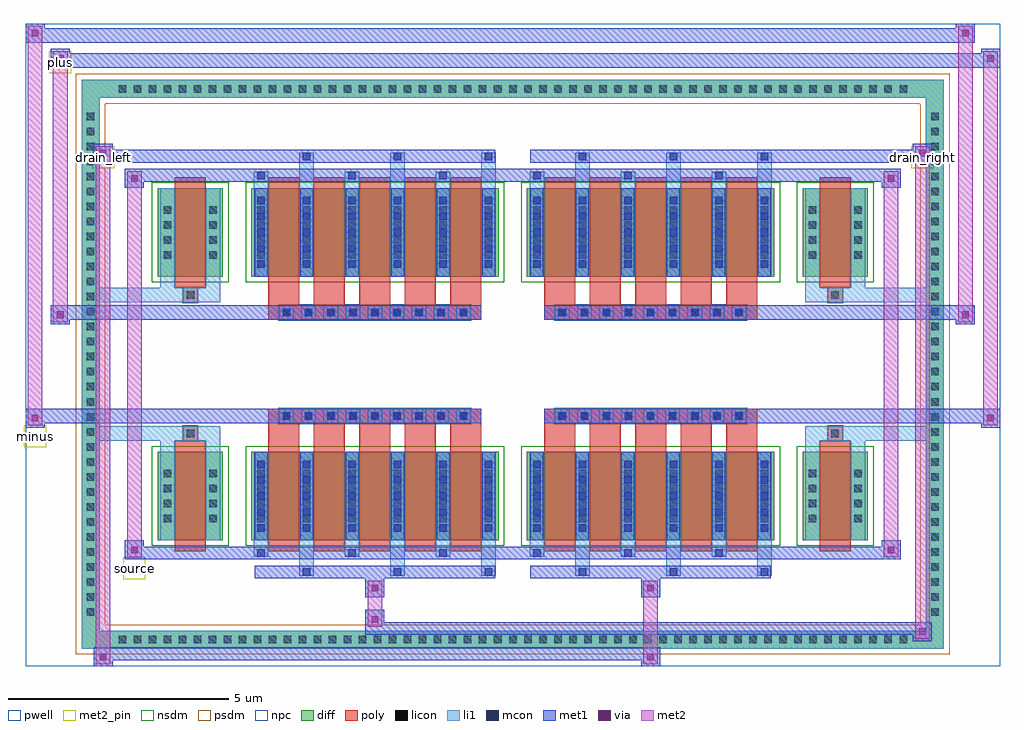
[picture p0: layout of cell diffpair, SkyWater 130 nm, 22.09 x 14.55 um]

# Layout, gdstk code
import gdstk
lib = gdstk.Library(unit=1e-6, precision=5e-09)
def R(c, l, rs):  # rectangles x0, y0, x1, y1
    for r in rs: c.add(gdstk.rectangle(r[:2], r[2:], *l))
def A(c, l, x, y, w, h, nx, ny, dx, dy):  # array of equal rectangles
    R(c, l, [(x+i*dx, y+j*dy, x+i*dx+w, y+j*dy+h) for i in range(nx) for j in range(ny)])
def P(c, l, *ps):  # polygons
    for p in ps: c.add(gdstk.Polygon(p, *l))
pwell = (64, 44)
diff = (65, 20)
poly = (66, 20)
licon = (66, 44)
li1 = (67, 20)
mcon = (67, 44)
met1 = (68, 20)
via = (68, 44)
met2_pin = (69, 16)
met2 = (69, 20)
nsdm = (93, 44)
psdm = (94, 20)
npc = (95, 20)

diffpair = lib.new_cell('diffpair')
R(diffpair, pwell, [(-11.03,-6.84,11.03,7.71), (-8.35,-5.03,-0.01,-0.805), (0.01,-5.03,8.35,-0.805), (-8.35,0.805,-0.01,5.03), (0.01,0.805,8.35,5.03)])
A(diffpair, diff, -9.045, -6.44, 0.41, 0.41, 53, 2, 0.34, 12.47)
A(diffpair, diff, -9.76, -5.815, 0.41, 0.41, 1, 34, 0, 0.34)
A(diffpair, diff, 9.35, -5.815, 0.41, 0.41, 1, 34, 0, 0.34)
R(diffpair, diff, [(-9.045,-6.44,9.045,-6.03), (-9.76,-5.815,-9.35,5.815), (9.35,-5.815,9.76,5.815), (-8.04,-3.985,-6.56,-1.985), (-5.92,-3.985,-0.32,-1.985), (0.32,-3.985,5.92,-1.985), (6.56,-3.985,8.04,-1.985), (-8.04,1.985,-6.56,3.985), (-5.92,1.985,-0.32,3.985), (0.32,1.985,5.92,3.985), (6.56,1.985,8.04,3.985), (-9.045,6.03,9.045,6.44)])
P(diffpair, diff, [(9.76,6.44),(-9.76,6.44),(-9.76,-6.03),(-9.35,-6.03),(-9.35,6.03),(9.35,6.03),(9.35,-6.03),(-9.35,-6.03),(-9.76,-6.03),(-9.76,-6.44),(9.76,-6.44)])
A(diffpair, poly, -5.53, -4.235, 0.7, 2.5, 5, 2, 1.03, 5.97)
A(diffpair, poly, 0.71, -4.235, 0.7, 2.5, 5, 2, 1.03, 5.97)
A(diffpair, poly, -5.53, -1.735, 0.7, 0.4, 5, 2, 1.03, 3.07)
A(diffpair, poly, 0.71, -1.735, 0.7, 0.4, 5, 2, 1.03, 3.07)
A(diffpair, poly, -5.285, -1.335, 0.33, 0.33, 9, 2, 0.5, 2.34)
A(diffpair, poly, 0.955, -1.335, 0.33, 0.33, 9, 2, 0.5, 2.34)
R(diffpair, poly, [(-7.65,-4.235,-6.95,-1.735), (6.95,-4.235,7.65,-1.735), (-7.465,-1.735,-7.135,-1.405), (-7.465,-1.735,-7.135,-1.405), (7.135,-1.735,7.465,-1.405), (7.135,-1.735,7.465,-1.405), (-5.53,-1.335,-0.71,-1.005), (0.71,-1.335,5.53,-1.005), (-5.53,1.005,-0.71,1.335), (0.71,1.005,5.53,1.335), (-7.465,1.405,-7.135,1.735), (-7.465,1.405,-7.135,1.735), (7.135,1.405,7.465,1.735), (7.135,1.405,7.465,1.735), (-7.65,1.735,-6.95,4.235), (6.95,1.735,7.65,4.235)])
A(diffpair, licon, -8.925, -6.32, 0.17, 0.17, 53, 2, 0.34, 12.47)
A(diffpair, licon, -9.64, -5.695, 0.17, 0.17, 1, 34, 0, 0.34)
A(diffpair, licon, 9.47, -5.695, 0.17, 0.17, 1, 34, 0, 0.34)
A(diffpair, licon, -7.9, -3.58, 0.17, 0.17, 1, 4, 0, 0.34)
A(diffpair, licon, -6.87, -3.58, 0.17, 0.17, 1, 4, 0, 0.34)
A(diffpair, licon, -5.78, -3.58, 0.17, 0.17, 6, 4, 1.03, 0.34)
A(diffpair, licon, 0.46, -3.58, 0.17, 0.17, 6, 4, 1.03, 0.34)
A(diffpair, licon, 6.7, -3.58, 0.17, 0.17, 1, 4, 0, 0.34)
A(diffpair, licon, 7.73, -3.58, 0.17, 0.17, 1, 4, 0, 0.34)
A(diffpair, licon, -5.205, -1.255, 0.17, 0.17, 9, 2, 0.5, 2.34)
A(diffpair, licon, 1.035, -1.255, 0.17, 0.17, 9, 2, 0.5, 2.34)
A(diffpair, licon, -7.9, 2.39, 0.17, 0.17, 1, 4, 0, 0.34)
A(diffpair, licon, -6.87, 2.39, 0.17, 0.17, 1, 4, 0, 0.34)
A(diffpair, licon, -5.78, 2.39, 0.17, 0.17, 6, 4, 1.03, 0.34)
A(diffpair, licon, 0.46, 2.39, 0.17, 0.17, 6, 4, 1.03, 0.34)
A(diffpair, licon, 6.7, 2.39, 0.17, 0.17, 1, 4, 0, 0.34)
A(diffpair, licon, 7.73, 2.39, 0.17, 0.17, 1, 4, 0, 0.34)
R(diffpair, licon, [(-7.385,-1.655,-7.215,-1.485), (7.215,-1.655,7.385,-1.485), (-7.385,1.485,-7.215,1.655), (7.215,1.485,7.385,1.655)])
A(diffpair, li1, -9.005, -6.4, 0.33, 0.33, 53, 2, 0.34, 12.47)
A(diffpair, li1, -9.72, -5.775, 0.33, 0.33, 1, 34, 0, 0.34)
A(diffpair, li1, 9.39, -5.775, 0.33, 0.33, 1, 34, 0, 0.34)
A(diffpair, li1, -4.83, -4.79, 0.33, 0.805, 3, 2, 2.06, 8.775)
A(diffpair, li1, -4.75, -4.79, 0.17, 0.17, 3, 2, 2.06, 9.41)
A(diffpair, li1, 1.41, -4.79, 0.33, 0.805, 3, 2, 2.06, 8.775)
A(diffpair, li1, 1.49, -4.79, 0.17, 0.17, 3, 2, 2.06, 9.41)
A(diffpair, li1, -5.86, -4.36, 0.33, 0.375, 3, 2, 2.06, 8.345)
A(diffpair, li1, -5.78, -4.36, 0.17, 0.17, 3, 2, 2.06, 8.55)
A(diffpair, li1, 0.38, -4.36, 0.33, 0.375, 3, 2, 2.06, 8.345)
A(diffpair, li1, 0.46, -4.36, 0.17, 0.17, 3, 2, 2.06, 8.55)
A(diffpair, li1, -5.86, -3.985, 0.33, 2, 6, 2, 1.03, 5.97)
A(diffpair, li1, 0.38, -3.985, 0.33, 2, 6, 2, 1.03, 5.97)
A(diffpair, li1, -5.78, -3.79, 0.17, 0.17, 6, 5, 1.03, 0.36)
A(diffpair, li1, -5.78, -3.79, 0.17, 1.61, 6, 2, 1.03, 5.97)
A(diffpair, li1, 0.46, -3.79, 0.17, 0.17, 6, 5, 1.03, 0.36)
A(diffpair, li1, 0.46, -3.79, 0.17, 1.61, 6, 2, 1.03, 5.97)
A(diffpair, li1, -7.98, -3.66, 0.33, 0.33, 1, 4, 0, 0.34)
A(diffpair, li1, -6.95, -3.66, 0.33, 0.33, 1, 4, 0, 0.34)
A(diffpair, li1, -5.86, -3.66, 0.33, 0.33, 6, 4, 1.03, 0.34)
A(diffpair, li1, 0.38, -3.66, 0.33, 0.33, 6, 4, 1.03, 0.34)
A(diffpair, li1, 6.62, -3.66, 0.33, 0.33, 1, 4, 0, 0.34)
A(diffpair, li1, 7.65, -3.66, 0.33, 0.33, 1, 4, 0, 0.34)
A(diffpair, li1, -5.285, -1.335, 0.33, 0.33, 9, 2, 0.5, 2.34)
A(diffpair, li1, 0.955, -1.335, 0.33, 0.33, 9, 2, 0.5, 2.34)
A(diffpair, li1, -5.78, 2.18, 0.17, 0.17, 6, 5, 1.03, 0.36)
A(diffpair, li1, 0.46, 2.18, 0.17, 0.17, 6, 5, 1.03, 0.36)
A(diffpair, li1, -7.98, 2.31, 0.33, 0.33, 1, 4, 0, 0.34)
A(diffpair, li1, -6.95, 2.31, 0.33, 0.33, 1, 4, 0, 0.34)
A(diffpair, li1, -5.86, 2.31, 0.33, 0.33, 6, 4, 1.03, 0.34)
A(diffpair, li1, 0.38, 2.31, 0.33, 0.33, 6, 4, 1.03, 0.34)
A(diffpair, li1, 6.62, 2.31, 0.33, 0.33, 1, 4, 0, 0.34)
A(diffpair, li1, 7.65, 2.31, 0.33, 0.33, 1, 4, 0, 0.34)
R(diffpair, li1, [(-9.76,-6.44,-9.35,-6.03), (-9.76,-6.44,-9.35,-6.03), (-9.35,-6.44,9.35,-6.03), (9.35,-6.44,9.76,-6.03), (9.35,-6.44,9.76,-6.03), (-9.76,-6.03,-9.35,6.03), (9.35,-6.03,9.76,6.03), (-7.98,-3.985,-7.65,-1.985), (-6.95,-3.985,-6.62,-1.985), (6.62,-3.985,6.95,-1.985), (7.65,-3.985,7.98,-1.985), (-7.98,-1.985,-7.65,-1.405), (-6.95,-1.985,-6.62,-1.405), (6.62,-1.985,6.95,-1.405), (7.65,-1.985,7.98,-1.405), (-9.76,-1.735,-7.465,-1.405), (-7.98,-1.735,-7.465,-1.405), (-7.465,-1.735,-7.135,-1.405), (-7.135,-1.735,-6.62,-1.405), (6.62,-1.735,7.135,-1.405), (7.135,-1.735,7.465,-1.405), (7.135,-1.735,9.76,-1.405), (7.465,-1.735,7.98,-1.405), (-9.76,1.405,-7.465,1.735), (-7.98,1.405,-7.465,1.735), (-7.98,1.405,-7.65,1.985), (-7.465,1.405,-7.135,1.735), (-7.135,1.405,-6.62,1.735), (-6.95,1.405,-6.62,1.985), (6.62,1.405,7.135,1.735), (6.62,1.405,6.95,1.985), (7.135,1.405,7.465,1.735), (7.135,1.405,9.76,1.735), (7.465,1.405,7.98,1.735), (7.65,1.405,7.98,1.985), (-7.98,1.985,-7.65,3.985), (-6.95,1.985,-6.62,3.985), (6.62,1.985,6.95,3.985), (7.65,1.985,7.98,3.985), (-9.76,6.03,-9.35,6.44), (-9.76,6.03,-9.35,6.44), (-9.35,6.03,9.35,6.44), (9.35,6.03,9.76,6.44), (9.35,6.03,9.76,6.44)])
A(diffpair, mcon, -4.75, -4.79, 0.17, 0.17, 3, 2, 2.06, 9.41)
A(diffpair, mcon, 1.49, -4.79, 0.17, 0.17, 3, 2, 2.06, 9.41)
A(diffpair, mcon, -5.78, -4.36, 0.17, 0.17, 3, 2, 2.06, 8.55)
A(diffpair, mcon, 0.46, -4.36, 0.17, 0.17, 3, 2, 2.06, 8.55)
A(diffpair, mcon, -5.78, -3.79, 0.17, 0.17, 6, 5, 1.03, 0.36)
A(diffpair, mcon, 0.46, -3.79, 0.17, 0.17, 6, 5, 1.03, 0.36)
A(diffpair, mcon, -5.205, -1.255, 0.17, 0.17, 9, 2, 0.5, 2.34)
A(diffpair, mcon, 1.035, -1.255, 0.17, 0.17, 9, 2, 0.5, 2.34)
A(diffpair, mcon, -5.78, 2.18, 0.17, 0.17, 6, 5, 1.03, 0.36)
A(diffpair, mcon, 0.46, 2.18, 0.17, 0.17, 6, 5, 1.03, 0.36)
A(diffpair, met1, -4.81, -4.85, 0.29, 0.29, 3, 2, 2.06, 9.41)
A(diffpair, met1, 1.43, -4.85, 0.29, 0.29, 3, 2, 2.06, 9.41)
A(diffpair, met1, -5.84, -4.42, 0.29, 0.29, 3, 2, 2.06, 8.55)
A(diffpair, met1, 0.4, -4.42, 0.29, 0.29, 3, 2, 2.06, 8.55)
A(diffpair, met1, -5.84, -3.985, 0.29, 2, 6, 2, 1.03, 5.97)
A(diffpair, met1, 0.4, -3.985, 0.29, 2, 6, 2, 1.03, 5.97)
A(diffpair, met1, -5.84, -3.85, 0.29, 0.29, 6, 5, 1.03, 0.36)
A(diffpair, met1, 0.4, -3.85, 0.29, 0.29, 6, 5, 1.03, 0.36)
A(diffpair, met1, -5.265, -1.315, 0.29, 0.29, 9, 2, 0.5, 2.34)
A(diffpair, met1, 0.975, -1.315, 0.29, 0.29, 9, 2, 0.5, 2.34)
A(diffpair, met1, -5.84, 2.12, 0.29, 0.29, 6, 5, 1.03, 0.36)
A(diffpair, met1, 0.4, 2.12, 0.29, 0.29, 6, 5, 1.03, 0.36)
R(diffpair, met1, [(-9.49,-6.84,-9.06,-6.41), (2.905,-6.84,3.335,-6.41), (-9.49,-6.7,3.335,-6.41), (9.06,-6.27,9.49,-5.84), (-3.335,-6.13,9.49,-5.84), (-3.335,-5.99,-2.905,-5.56), (-3.335,-5.28,-2.905,-4.85), (2.905,-5.28,3.335,-4.85), (-5.84,-4.85,-0.4,-4.56), (0.4,-4.85,5.84,-4.56), (-8.78,-4.42,-8.35,-3.99), (-8.78,-4.42,-5.84,-4.13), (-5.84,-4.42,-0.4,-4.13), (-0.4,-4.42,0.4,-4.13), (0.4,-4.42,5.84,-4.13), (5.84,-4.42,8.78,-4.13), (8.35,-4.42,8.78,-3.99), (-11.03,-1.435,-10.6,-1.005), (10.6,-1.435,11.03,-1.005), (-11.03,-1.335,-0.71,-1.005), (-5.53,-1.335,-0.71,-1.005), (0.71,-1.335,5.53,-1.005), (0.71,-1.335,11.03,-1.005), (-10.46,0.905,-10.03,1.335), (10.03,0.905,10.46,1.335), (-10.46,1.005,-5.53,1.335), (-5.53,1.005,-0.71,1.335), (0.71,1.005,5.53,1.335), (5.53,1.005,10.46,1.335), (-8.78,3.99,-8.35,4.42), (8.35,3.99,8.78,4.42), (-8.78,4.13,-5.84,4.42), (-5.84,4.13,-0.4,4.42), (-0.4,4.13,0.4,4.42), (0.4,4.13,5.84,4.42), (5.84,4.13,8.78,4.42), (-9.49,4.56,-9.06,4.99), (-9.49,4.56,-5.84,4.85), (-5.84,4.56,-0.4,4.85), (0.4,4.56,5.84,4.85), (5.84,4.56,9.49,4.85), (9.06,4.56,9.49,4.99), (-10.46,6.71,-10.03,7.14), (-10.46,6.71,-8.35,7.04), (-8.35,6.71,8.35,7.04), (8.35,6.71,11.03,7.04), (10.6,6.71,11.03,7.14), (-11.03,7.28,-10.6,7.71), (-11.03,7.28,-8.35,7.61), (-8.35,7.28,8.35,7.61), (8.35,7.28,10.46,7.61), (10.03,7.28,10.46,7.71)])
R(diffpair, via, [(-9.35,-6.7,-9.2,-6.55), (3.045,-6.7,3.195,-6.55), (9.2,-6.13,9.35,-5.98), (-3.195,-5.85,-3.045,-5.7), (-3.195,-5.14,-3.045,-4.99), (3.045,-5.14,3.195,-4.99), (-8.64,-4.28,-8.49,-4.13), (8.49,-4.28,8.64,-4.13), (-10.89,-1.295,-10.74,-1.145), (10.74,-1.295,10.89,-1.145), (-10.32,1.045,-10.17,1.195), (10.17,1.045,10.32,1.195), (-8.64,4.13,-8.49,4.28), (8.49,4.13,8.64,4.28), (-9.35,4.7,-9.2,4.85), (9.2,4.7,9.35,4.85), (-10.32,6.85,-10.17,7), (10.74,6.85,10.89,7), (-10.89,7.42,-10.74,7.57), (10.17,7.42,10.32,7.57)])
R(diffpair, met2_pin, [(-8.815,-4.87,-8.315,-4.37), (-11.065,-1.885,-10.565,-1.385), (-9.525,4.44,-9.025,4.94), (9.025,4.44,9.525,4.94), (-10.495,6.59,-9.995,7.09)])
R(diffpair, met2, [(-9.44,-6.79,-9.11,-6.46), (-9.44,-6.79,-9.11,4.94), (2.955,-6.79,3.285,-6.46), (2.955,-6.46,3.285,-5.23), (9.11,-6.22,9.44,-5.89), (9.11,-6.22,9.44,4.94), (-3.285,-5.94,-2.955,-5.61), (-3.285,-5.61,-2.955,-5.23), (-3.285,-5.23,-2.955,-4.9), (2.955,-5.23,3.285,-4.9), (-8.73,-4.37,-8.4,-4.04), (-8.73,-4.37,-8.4,4.37), (8.4,-4.37,8.73,-4.04), (8.4,-4.37,8.73,4.37), (-10.98,-1.385,-10.65,-1.055), (-10.98,-1.385,-10.65,7.66), (10.65,-1.385,10.98,-1.055), (10.65,-1.385,10.98,7.09), (-10.41,0.955,-10.08,1.285), (-10.41,0.955,-10.08,7.09), (10.08,0.955,10.41,1.285), (10.08,0.955,10.41,7.66), (-8.73,4.04,-8.4,4.37), (8.4,4.04,8.73,4.37), (-9.44,4.61,-9.11,4.94), (9.11,4.61,9.44,4.94), (-10.41,6.76,-10.08,7.09), (10.65,6.76,10.98,7.09), (-10.98,7.33,-10.65,7.66), (10.08,7.33,10.41,7.66)])
P(diffpair, met2, [(10.98,-1.385),(10.98,-1.385),(10.98,-1.055),(10.98,-1.055)],
  [(10.98,6.76),(10.98,6.76),(10.98,7.09),(10.98,7.09)],
  [(-10.65,-1.385),(-10.65,-1.385),(-10.65,-1.055),(-10.65,-1.055)],
  [(-10.65,7.33),(-10.65,7.33),(-10.65,7.66),(-10.65,7.66)],
  [(10.41,0.955),(10.41,0.955),(10.41,1.285),(10.41,1.285)],
  [(10.41,7.33),(10.41,7.33),(10.41,7.66),(10.41,7.66)],
  [(-10.08,0.955),(-10.08,0.955),(-10.08,1.285),(-10.08,1.285)],
  [(-10.08,6.76),(-10.08,6.76),(-10.08,7.09),(-10.08,7.09)],
  [(-9.11,-6.79),(-9.11,-6.79),(-9.11,-6.46),(-9.11,-6.46)],
  [(-9.11,4.61),(-9.11,4.61),(-9.11,4.94),(-9.11,4.94)],
  [(9.44,-6.22),(9.44,-6.22),(9.44,-5.89),(9.44,-5.89)],
  [(9.44,4.61),(9.44,4.61),(9.44,4.94),(9.44,4.94)],
  [(-8.4,-4.37),(-8.4,-4.37),(-8.4,-4.04),(-8.4,-4.04)],
  [(-8.4,4.04),(-8.4,4.04),(-8.4,4.37),(-8.4,4.37)],
  [(8.73,-4.37),(8.73,-4.37),(8.73,-4.04),(8.73,-4.04)],
  [(8.73,4.04),(8.73,4.04),(8.73,4.37),(8.73,4.37)])
R(diffpair, nsdm, [(-8.17,-4.115,-6.43,-1.855), (-6.05,-4.115,-0.19,-1.855), (0.19,-4.115,6.05,-1.855), (6.43,-4.115,8.17,-1.855), (-8.17,1.855,-6.43,4.115), (-6.05,1.855,-0.19,4.115), (0.19,1.855,6.05,4.115), (6.43,1.855,8.17,4.115)])
P(diffpair, psdm, [(9.89,6.57),(-9.89,6.57),(-9.89,-5.9),(-9.22,-5.9),(-9.22,5.9),(9.22,5.9),(9.22,-5.9),(-9.22,-5.9),(-9.89,-5.9),(-9.89,-6.57),(9.89,-6.57)])
A(diffpair, npc, -5.305, -1.355, 0.37, 0.37, 9, 2, 0.5, 2.34)
A(diffpair, npc, 0.935, -1.355, 0.37, 0.37, 9, 2, 0.5, 2.34)
R(diffpair, npc, [(-7.485,-1.755,-7.115,-1.385), (7.115,-1.755,7.485,-1.385), (-5.305,-1.355,-4.435,-0.985), (-5.305,-1.355,-4.435,-0.985), (-4.805,-1.355,-3.935,-0.985), (-4.805,-1.355,-3.935,-0.985), (-4.305,-1.355,-3.435,-0.985), (-4.305,-1.355,-3.435,-0.985), (-3.805,-1.355,-2.935,-0.985), (-3.805,-1.355,-2.935,-0.985), (-3.305,-1.355,-2.435,-0.985), (-3.305,-1.355,-2.435,-0.985), (-2.805,-1.355,-1.935,-0.985), (-2.805,-1.355,-1.935,-0.985), (-2.305,-1.355,-1.435,-0.985), (-2.305,-1.355,-1.435,-0.985), (-1.805,-1.355,-0.935,-0.985), (-1.805,-1.355,-0.935,-0.985), (0.935,-1.355,1.805,-0.985), (0.935,-1.355,1.805,-0.985), (1.435,-1.355,2.305,-0.985), (1.435,-1.355,2.305,-0.985), (1.935,-1.355,2.805,-0.985), (1.935,-1.355,2.805,-0.985), (2.435,-1.355,3.305,-0.985), (2.435,-1.355,3.305,-0.985), (2.935,-1.355,3.805,-0.985), (2.935,-1.355,3.805,-0.985), (3.435,-1.355,4.305,-0.985), (3.435,-1.355,4.305,-0.985), (3.935,-1.355,4.805,-0.985), (3.935,-1.355,4.805,-0.985), (4.435,-1.355,5.305,-0.985), (4.435,-1.355,5.305,-0.985), (-5.305,0.985,-4.435,1.355), (-5.305,0.985,-4.435,1.355), (-4.805,0.985,-3.935,1.355), (-4.805,0.985,-3.935,1.355), (-4.305,0.985,-3.435,1.355), (-4.305,0.985,-3.435,1.355), (-3.805,0.985,-2.935,1.355), (-3.805,0.985,-2.935,1.355), (-3.305,0.985,-2.435,1.355), (-3.305,0.985,-2.435,1.355), (-2.805,0.985,-1.935,1.355), (-2.805,0.985,-1.935,1.355), (-2.305,0.985,-1.435,1.355), (-2.305,0.985,-1.435,1.355), (-1.805,0.985,-0.935,1.355), (-1.805,0.985,-0.935,1.355), (0.935,0.985,1.805,1.355), (0.935,0.985,1.805,1.355), (1.435,0.985,2.305,1.355), (1.435,0.985,2.305,1.355), (1.935,0.985,2.805,1.355), (1.935,0.985,2.805,1.355), (2.435,0.985,3.305,1.355), (2.435,0.985,3.305,1.355), (2.935,0.985,3.805,1.355), (2.935,0.985,3.805,1.355), (3.435,0.985,4.305,1.355), (3.435,0.985,4.305,1.355), (3.935,0.985,4.805,1.355), (3.935,0.985,4.805,1.355), (4.435,0.985,5.305,1.355), (4.435,0.985,5.305,1.355), (-7.485,1.385,-7.115,1.755), (7.115,1.385,7.485,1.755)])
diffpair.add(gdstk.Label('minus', (-10.815,-1.635), layer=69, texttype=5))
diffpair.add(gdstk.Label('drain_right', (9.275,4.69), layer=69, texttype=5))
diffpair.add(gdstk.Label('drain_left', (-9.275,4.69), layer=69, texttype=5))
diffpair.add(gdstk.Label('source', (-8.565,-4.62), layer=69, texttype=5))
diffpair.add(gdstk.Label('plus', (-10.245,6.84), layer=69, texttype=5))

lib.write_gds('diffpair.gds')
